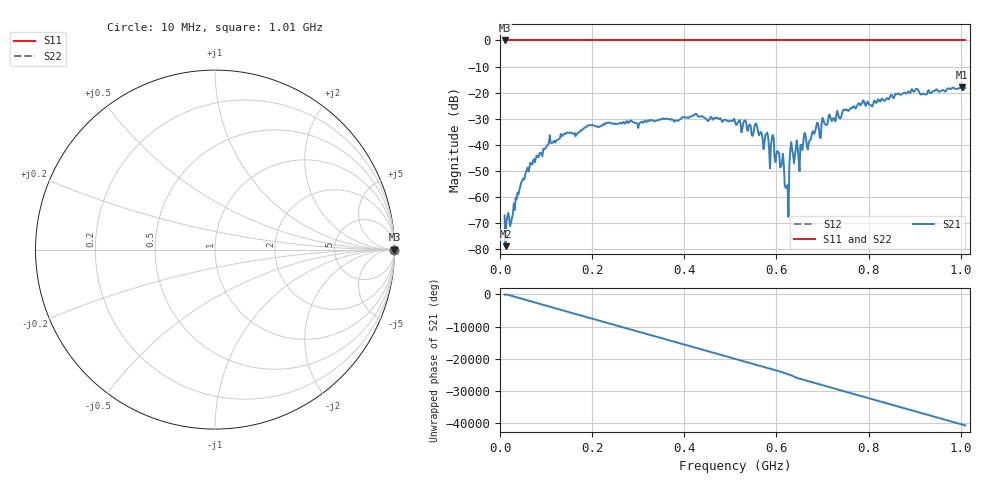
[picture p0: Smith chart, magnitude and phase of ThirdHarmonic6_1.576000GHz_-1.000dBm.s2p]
! 8/16/2025 6:45:10 PM
! C:\ANRITSUVNA\TEMP\TEMP.S2P
! CHANNEL.1
! TR.MEASUREMENT
! RAW.DATA
! RF.CORRECTION.OFF
! AVERAGING.OFF
! IF.BANDWIDTH: 5KHZ
! SWEEPTYPE:  FREQ.SWEEP(Linear)
! Reference Plane Port Info
! PORT:  PORT1  PORT2
! DISTANCE:  0  m  0  m
! TIME:  0  s  0  s
! PHASE.OFFSET:  0  deg.  0  deg.
! LOSS:  0  dB  0  dB
! REF.LOSS:  0  dB  0  dB
! REF.FREQ:  0  Hz  0  Hz
! Power Info
! POWER:  -20  dBm  -20  dBm
! EFF.POWER:  -20  dBm  -20  dBm
! SOURCE.ATTEN:  0  dB  0  dB
! TEST.ATTEN:  0  dB  0  dB
# GHZ S RI R 50.0
! FREQ.GHZ  S11RE  S11IM  S21RE  S21IM  S12RE  S12IM  S22RE  S22IM
!; PortSelection: Port_12
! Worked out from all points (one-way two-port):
!   501 points, 10 MHz to 1.01 GHz, reference 50 ohm
!   highest |S21| = -17.87 dB at 1.002 GHz (marker M1); lowest = -78.9 dB at 12 MHz (marker M2)
!   lowest |S11| = 0.0 dB at 10 MHz (marker M3)
!   |S11| at or under -10 dB: nowhere
!   |S22| runs from 0.0 to 0.0 dB; largest |S21 - S12| = 1.1
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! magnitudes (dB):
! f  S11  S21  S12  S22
! 10 MHz  0.0  -67.1  0.0  0.0
! 12 MHz  0.0  -78.9  0.0  0.0
! 24 MHz  0.0  -69.7  0.0  0.0
! 62 MHz  0.0  -50.3  0.0  0.0
! 104 MHz  0.0  -40.0  0.0  0.0
! 178 MHz  0.0  -34.3  0.0  0.0
! 344 MHz  0.0  -30.6  0.0  0.0
! 510 MHz  0.0  -31.3  0.0  0.0
! 556 MHz  0.0  -31.9  0.0  0.0
! 586 MHz  0.0  -49.1  0.0  0.0
! 592 MHz  0.0  -36.3  0.0  0.0
! 612 MHz  0.0  -46.9  0.0  0.0
! 622 MHz  0.0  -55.8  0.0  0.0
! 632 MHz  0.0  -39.1  0.0  0.0
! 652 MHz  0.0  -40.1  0.0  0.0
! 658 MHz  0.0  -39.7  0.0  0.0
! 670 MHz  0.0  -39.3  0.0  0.0
! 678 MHz  0.0  -34.9  0.0  0.0
! 748 MHz  0.0  -26.7  0.0  0.0
! 844 MHz  0.0  -22.6  0.0  0.0
! 1.002 GHz  0.0  -17.9  0.0  0.0
! 1.01 GHz  0.0  -18.2  0.0  0.0
